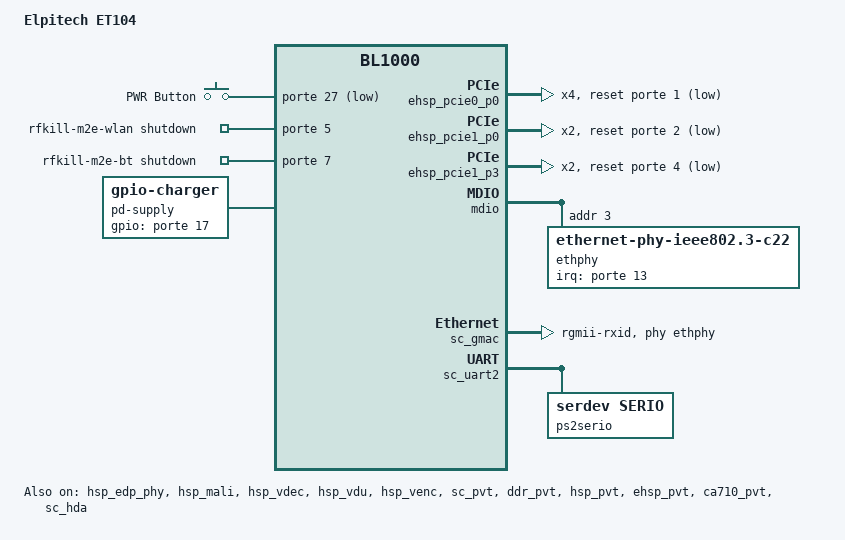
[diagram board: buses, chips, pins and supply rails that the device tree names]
// SPDX-License-Identifier: GPL-2.0
/*
 * Device tree source for Elpitech ET104 v1.0 board
 */

/dts-v1/;

#define USE_BL1000_PCIE1_SS_MODE	3

#include "bl1000.dtsi"
#include <dt-bindings/input/gpio-keys.h>
#include <dt-bindings/input/linux-event-codes.h>

/ {
	model = "Elpitech ET104";
	compatible = "baikal,dbl", "baikal,bl1000";

	aliases {
		ethernet0 = &sc_gmac;
		fru = &fru;
		evdu = &ehsp_vdu;
		vdu = &hsp_vdu;
	};

	cpus {
		baikal,demand-qos = <12>;
		baikal,prefetch-qos = <10>;
		cpu@0 {
			baikal,enable-cbusy-tuning = <1>;
		};
		cpu@100 {
			baikal,enable-cbusy-tuning = <1>;
		};
		cpu@200 {
			baikal,enable-cbusy-tuning = <1>;
		};
		cpu@300 {
			baikal,enable-cbusy-tuning = <1>;
		};
	};

	chosen { };

	gpio-keys {
		compatible = "gpio-keys";
		pwr {
			label = "PWR Button";
			linux,code = <116>;
			gpios = <&porte 27 GPIO_ACTIVE_LOW>;
			wakeup-source;
			wakeup-event-action = <EV_ACT_DEASSERTED>;
		};
	};

	rfkill-wlan {
		compatible = "rfkill-gpio";
		label = "rfkill-m2e-wlan";
		radio-type = "wlan";
		shutdown-gpios = <&porte 5 GPIO_ACTIVE_HIGH>;
	};

	rfkill-bt {
		compatible = "rfkill-gpio";
		label = "rfkill-m2e-bt";
		radio-type = "bluetooth";
		shutdown-gpios = <&porte 7 GPIO_ACTIVE_HIGH>;
	};

	pd-supply {
		compatible = "gpio-charger";
		gpios = <&porte 17 GPIO_ACTIVE_HIGH>;
		charger-type = "mains";
	};
};

&ehsp_pcie0_p0 {
	status = "okay";
	num-lanes = <4>;
	pinctrl = <&sc_emmc_mux_gpio1>;
	reset-gpios = <&porte 1 GPIO_ACTIVE_LOW>;
};

&ehsp_pcie1_p0 {
	status = "okay";
	num-lanes = <2>;
	reset-gpios = <&porte 2 GPIO_ACTIVE_LOW>;
};

&ehsp_pcie1_p3 {
	status = "okay";
	num-lanes = <2>;
	reset-gpios = <&porte 4 GPIO_ACTIVE_LOW>;
};

&hsp_edp_phy {
	status = "okay";
};

&hsp_lsp_pinctrl0 {
	status = "okay";
};

&hsp_lsp_pinctrl1 {
	status = "okay";
};

&hsp_lsp_pinctrl2 {
	status = "okay";
};

&hsp_mali {
	status = "okay";
	baikal,arqos = <10>;
	baikal,awqos = <10>;
};

&hsp_vdec {
	status = "okay";
	baikal,arqos = <14>;
	baikal,awqos = <14>;
};

&hsp_vdu {
	status = "okay";
	baikal,dp-lanes = <4>;
	baikal,arqos = <15>;
	backlight {
		min-brightness-level = <10>;
		default-brightness-level = <60>;
		brightness-level-step = <2>;
		pwm-frequency = <20000>;
	};
};

&hsp_venc {
	status = "okay";
};

&mdio {
	ethphy: ethernet-phy@3 {
		compatible = "ethernet-phy-ieee802.3-c22";
		reg = <0x3>;
		interrupt-parent = <&porte>;
		interrupts = <13 IRQ_TYPE_LEVEL_LOW>;
	};
};


&sc_gmac {
	status = "okay";
	pinctrl = <&sc_gmac_sdio_bit0_mode1>,
		  <&sc_emmc_mux_gpio2>;

	phy-handle = <&ethphy>;
	phy-mode = "rgmii-rxid";

	snps,reset-gpios = <&porte 12 GPIO_ACTIVE_LOW>;
	snps,reset-delays-us = <10 10200 60000>;
};

&sc_gmac_sdio_pinctrl {
	status = "okay";
};

&sc_gpio32 {
	status = "okay";
};

&hsp_gpio32 {
	status = "okay";
};

&sc_gpio30 {
	status = "okay";
};

&hsp_lsp_pinctrl0 {
	status = "okay";
};

&sc_lsp_pinctrl0 {
	status = "okay";
};

&sc_lsp_pinctrl1 {
	status = "okay";
};

&sc_lsp_pinctrl2 {
	status = "okay";
};

&sc_emmc_pinctrl {
	status = "okay";
};

&sc_emmc_pu_pinctrl {
	status = "okay";
};

&sc_emmc_pd_pinctrl {
	status = "okay";
};

#define MKEY(s,k)	<((s << 16) | k)>

&sc_uart2 {
	status = "okay";
	pinctrl = <&sc_lsp_pin12_uart2_rxd>,
		  <&sc_lsp_pin13_uart2_txd>;

	ps2serio {
		compatible = "serdev,serio";
		current-speed = <115200>;
		type = <0x01>;	// SERIO_8042
		protocol = <0x22>; //SERIO_PS2SER
		linux,keymap = MKEY(0x1, 67),
			MKEY(0x2, 65),
			MKEY(0x3, 63),
			MKEY(0x4, 61),
			MKEY(0x5, 59),
			MKEY(0x6, 60),
			MKEY(0x7, 88),
			MKEY(0x9, 68),
			MKEY(0xa, 66),
			MKEY(0xb, 64),
			MKEY(0xc, 62),
			MKEY(0xd, 15),
			MKEY(0xe, 41),
			MKEY(0xf, 117),
			MKEY(0x11, 56),
			MKEY(0x12, 42),
			MKEY(0x13, 93),
			MKEY(0x14, 29),
			MKEY(0x15, 16),
			MKEY(0x16, 2),
			MKEY(0x1a, 44),
			MKEY(0x1b, 31),
			MKEY(0x1c, 30),
			MKEY(0x1d, 17),
			MKEY(0x1e, 3),
			MKEY(0x21, 46),
			MKEY(0x22, 45),
			MKEY(0x23, 32),
			MKEY(0x24, 18),
			MKEY(0x25, 5),
			MKEY(0x26, 4),
			MKEY(0x27, 95),
			MKEY(0x29, 57),
			MKEY(0x2a, 47),
			MKEY(0x2b, 33),
			MKEY(0x2c, 20),
			MKEY(0x2d, 19),
			MKEY(0x2e, 6),
			MKEY(0x2f, 183),
			MKEY(0x31, 49),
			MKEY(0x32, 48),
			MKEY(0x33, 35),
			MKEY(0x34, 34),
			MKEY(0x35, 21),
			MKEY(0x36, 7),
			MKEY(0x37, 184),
			MKEY(0x3a, 50),
			MKEY(0x3b, 36),
			MKEY(0x3c, 22),
			MKEY(0x3d, 8),
			MKEY(0x3e, 9),
			MKEY(0x3f, 185),
			MKEY(0x41, 51),
			MKEY(0x42, 37),
			MKEY(0x43, 23),
			MKEY(0x44, 24),
			MKEY(0x45, 11),
			MKEY(0x46, 10),
			MKEY(0x49, 52),
			MKEY(0x4a, 53),
			MKEY(0x4b, 38),
			MKEY(0x4c, 39),
			MKEY(0x4d, 25),
			MKEY(0x4e, 12),
			MKEY(0x51, 89),
			MKEY(0x52, 40),
			MKEY(0x54, 26),
			MKEY(0x55, 13),
			MKEY(0x57, 193),
			MKEY(0x58, 58),
			MKEY(0x59, 54),
			MKEY(0x5a, 28),
			MKEY(0x5b, 27),
			MKEY(0x5d, 43),
			MKEY(0x5f, 85),
			MKEY(0x61, 86),
			MKEY(0x62, 91),
			MKEY(0x63, 90),
			MKEY(0x64, 92),
			MKEY(0x66, 14),
			MKEY(0x67, 94),
			MKEY(0x69, 79),
			MKEY(0x6a, 124),
			MKEY(0x6b, 75),
			MKEY(0x6c, 71),
			MKEY(0x6d, 121),
			MKEY(0x70, 82),
			MKEY(0x71, 83),
			MKEY(0x72, 80),
			MKEY(0x73, 76),
			MKEY(0x74, 77),
			MKEY(0x75, 72),
			MKEY(0x76, 1),
			MKEY(0x77, 69),
			MKEY(0x78, 87),
			MKEY(0x79, 78),
			MKEY(0x7a, 81),
			MKEY(0x7b, 74),
			MKEY(0x7c, 55),
			MKEY(0x7d, 73),
			MKEY(0x7e, 70),
			MKEY(0x7f, 99),
			MKEY(0x90, 217),
			MKEY(0x91, 100),
			MKEY(0x92, 255),
			MKEY(0x94, 97),
			MKEY(0x95, 165),
			MKEY(0x98, 156),
			MKEY(0x9f, 125),
			MKEY(0xa0, 173),
			MKEY(0xa1, 114),
			MKEY(0xa3, 113),
			MKEY(0xa7, 139),	//BTN-RIGHT - 273
			MKEY(0xa8, 128),
			MKEY(0xab, 140),
			MKEY(0xaf, 127),
			MKEY(0xb0, 159),
			MKEY(0xb2, 115),
			MKEY(0xb4, 164),
			MKEY(0xb7, 116),
			MKEY(0xb8, 158),
			MKEY(0xba, 172),
			MKEY(0xbb, 166),
			MKEY(0xbf, 142),
			MKEY(0xc0, 157),
			MKEY(0xc8, 155),
			MKEY(0xca, 98),
			MKEY(0xcd, 163),
			MKEY(0xd0, 226),
			MKEY(0xd9, 255),
			MKEY(0xda, 96),
			MKEY(0xde, 143),
			MKEY(0xe9, 107),
			MKEY(0xeb, 105),
			MKEY(0xec, 102),
			MKEY(0xef, 112),
			MKEY(0xf0, 110),
			MKEY(0xf1, 111),
			MKEY(0xf2, 108),
			MKEY(0xf3, 112),
			MKEY(0xf4, 106),
			MKEY(0xf5, 103),
			MKEY(0xf7, 119),
			MKEY(0xf9, 118),
			MKEY(0xfa, 109),
			MKEY(0xfc, 99),
			MKEY(0xfd, 104),
			MKEY(0xfe, 119),
			MKEY(0x103, 65),
			MKEY(0x104, 99),
			MKEY(0xbf, 142),
			MKEY(0xc1, 225),
			MKEY(0xc2, 224),
			MKEY(0xc3, 247),
			MKEY(0xc4, 227);
	};
};

&sc_pvt {
	status = "okay";
};

&ddr_pvt {
	status = "okay";
};

&hsp_pvt {
	status = "okay";
};

&ehsp_pvt {
	status = "okay";
};

&ca710_pvt {
	status = "okay";
};

&sc_hda {
	status = "okay";
	pinctrl = <&sc_lsp_pin14_hda_rst>,
		  <&sc_lsp_pin15_hda_sync>,
		  <&sc_lsp_pin16_hda_bclk>,
		  <&sc_lsp_pin17_hda_sdo0>,
		  <&sc_lsp_pin18_hda_sdi0>;
	patch-data = "[codec]\n\
0x111d76d5 0x00000100 0\n\
[model]\n\
et104\n\
[pincfg]\n\
0x11 0x90a3004e\n";
};

&ehsp_dp_phy {
	status = "okay";
};

&ehsp_vdu {
	status = "okay";
	baikal,dp-lanes = <4>;
	baikal,arqos = <15>;
};

&hsp_usb1_l0 {
	status = "okay";
	dr_mode = "host";
	maximum-speed = "super-speed";
	phys = <&hsp_usb1_phy10g_l0>;
	phy-names = "cdns3,usb3-phy";
};

&hsp_usb1_l1 {
	status = "okay";
	dr_mode = "host";
	maximum-speed = "high-speed";
	phys = <&hsp_usb1_phy10g_l1>;
	phy-names = "cdns3,usb3-phy";
};

&hsp_usb1_phy10g {
	status = "okay";
};

&hsp_usb1_phy10g_l0 {
	status = "okay";
};

&hsp_usb1_phy10g_l1 {
	status = "okay";
};

&sc_i2c0 { // M2E
	status = "okay";
	pinctrl = <&sc_lsp_pin0_i2c0_scl>,
		  <&sc_lsp_pin1_i2c0_sda>;
};

&sc_i2c1 {
	status = "okay";
	pinctrl = <&sc_lsp_pin2_i2c1_scl>,
		  <&sc_lsp_pin3_i2c1_sda>;

	fru: eeprom@50 {
		compatible = "atmel,24c256";
		reg = <0x50>;
	};
};

&sc_i2c2 {
	status = "okay";
	pinctrl = <&sc_lsp_pin4_i2c2_scl>,
		  <&sc_lsp_pin5_i2c2_sda>;

	touchpad@2c {
		reg = <0x2c>;
		compatible = "hid-over-i2c";
		reset-gpios = <&porte 19 GPIO_ACTIVE_LOW>;
		interrupts-extended = <&porte 18 IRQ_TYPE_LEVEL_LOW>;
		hid-descr-addr = <0x20>;
	};
};

&hsp_usb0_l0 {
	status = "okay";
	dr_mode = "host";
	maximum-speed = "super-speed";
	phys = <&hsp_usb0_phy10g_l0>;
	phy-names = "cdns3,usb3-phy";
};

&hsp_usb0_l1 {
	status = "okay";
	dr_mode = "host";
	maximum-speed = "super-speed";
	phys = <&hsp_usb0_phy10g_l1>;
	phy-names = "cdns3,usb3-phy";
};

&hsp_usb0_phy10g {
	status = "okay";
};

&hsp_usb0_phy10g_l0 {
	status = "okay";
};

&hsp_usb0_phy10g_l1 {
	status = "okay";
};

&sc_i2c3 {
	status = "okay";
	pinctrl = <&sc_lsp_pin6_i2c3_scl>,
		  <&sc_lsp_pin7_i2c3_sda>;

	edid: eeprom@50 {
		compatible = "atmel,24c32";
		pagesize = <32>;
		reg = <0x50>;
	};

	eeprom@54 {
		compatible = "st,m24256";
		reg = <0x54>;
	};
};

&sc_uart0 {
	status = "okay";
	pinctrl = <&sc_lsp_pin8_uart0_rxd>,
		  <&sc_lsp_pin9_uart0_txd>;
};

&sc_uart1 {
	status = "okay";
	pinctrl = <&sc_lsp_pin10_uart1_rxd>,
		  <&sc_lsp_pin11_uart1_txd>;
};

&hsp_i2c0 {
	status = "okay";
	pinctrl = <&hsp_lsp_pin0_i2c0_scl>,
		  <&hsp_lsp_pin1_i2c0_sda>;
};

&hsp_i2c1 {
	status = "okay";
	pinctrl = <&hsp_lsp_pin2_i2c1_scl>,
		  <&hsp_lsp_pin3_i2c1_sda>;
	clock-frequency = <100000>;

	battery@b {
		reg = <0xb>;
		compatible = "sbs,sbs-battery";
	};

	rtc@54 {
		reg = <0x54>;
		compatible = "nxp,pcf2127";
	};
};

&hsp_i2c2 {
	status = "okay";
	pinctrl = <&hsp_lsp_pin4_i2c2_scl>,
		  <&hsp_lsp_pin5_i2c2_sda>;
};

&hsp_i2c3 { /* Connected to DIMM SPDs */
	status = "okay";
	pinctrl = <&hsp_lsp_pin6_i2c3_scl>,
		  <&hsp_lsp_pin7_i2c3_sda>;
};

